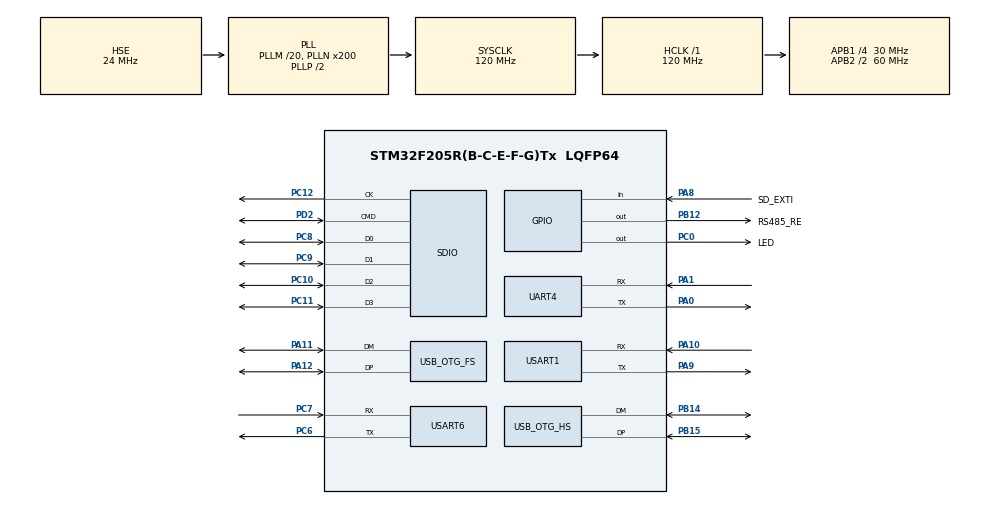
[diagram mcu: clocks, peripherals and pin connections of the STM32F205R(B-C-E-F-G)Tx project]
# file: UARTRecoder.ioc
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Dma.Request0=UART4_RX
Dma.Request1=USART1_RX
Dma.Request2=USART6_RX
Dma.UART4_RX.0.Direction=DMA_PERIPH_TO_MEMORY
Dma.UART4_RX.0.FIFOMode=DMA_FIFOMODE_DISABLE
Dma.UART4_RX.0.Instance=DMA1_Stream2
Dma.UART4_RX.0.MemDataAlignment=DMA_MDATAALIGN_BYTE
Dma.UART4_RX.0.MemInc=DMA_MINC_ENABLE
Dma.UART4_RX.0.Mode=DMA_NORMAL
Dma.UART4_RX.0.PeriphDataAlignment=DMA_PDATAALIGN_BYTE
Dma.UART4_RX.0.PeriphInc=DMA_PINC_DISABLE
Dma.UART4_RX.0.Priority=DMA_PRIORITY_LOW
Dma.USART1_RX.1.Direction=DMA_PERIPH_TO_MEMORY
Dma.USART1_RX.1.FIFOMode=DMA_FIFOMODE_DISABLE
Dma.USART1_RX.1.Instance=DMA2_Stream2
Dma.USART1_RX.1.MemDataAlignment=DMA_MDATAALIGN_BYTE
Dma.USART1_RX.1.MemInc=DMA_MINC_ENABLE
Dma.USART1_RX.1.Mode=DMA_NORMAL
Dma.USART1_RX.1.PeriphDataAlignment=DMA_PDATAALIGN_BYTE
Dma.USART1_RX.1.PeriphInc=DMA_PINC_DISABLE
Dma.USART1_RX.1.Priority=DMA_PRIORITY_LOW
Dma.USART6_RX.2.Direction=DMA_PERIPH_TO_MEMORY
Dma.USART6_RX.2.FIFOMode=DMA_FIFOMODE_DISABLE
Dma.USART6_RX.2.Instance=DMA2_Stream1
Dma.USART6_RX.2.MemDataAlignment=DMA_MDATAALIGN_BYTE
Dma.USART6_RX.2.MemInc=DMA_MINC_ENABLE
Dma.USART6_RX.2.Mode=DMA_NORMAL
Dma.USART6_RX.2.PeriphDataAlignment=DMA_PDATAALIGN_BYTE
Dma.USART6_RX.2.PeriphInc=DMA_PINC_DISABLE
Dma.USART6_RX.2.Priority=DMA_PRIORITY_LOW
Mcu.Family=STM32F2
Mcu.Name=STM32F205R(B-C-E-F-G)Tx
Mcu.Package=LQFP64
NVIC.DMA1_Stream2_IRQn=true\:0\:0\:false\:false\:true\:false
NVIC.DMA2_Stream1_IRQn=true\:0\:0\:false\:false\:true\:false
NVIC.DMA2_Stream2_IRQn=true\:0\:0\:false\:false\:true\:false
NVIC.OTG_FS_IRQn=true\:0\:0\:false\:false\:true\:false
NVIC.OTG_HS_IRQn=true\:0\:0\:false\:false\:true\:false
NVIC.PriorityGroup=NVIC_PRIORITYGROUP_4
NVIC.UART4_IRQn=true\:0\:0\:false\:false\:true\:true
NVIC.USART1_IRQn=true\:0\:0\:false\:false\:true\:true
NVIC.USART6_IRQn=true\:0\:0\:false\:false\:true\:true
PA0-WKUP.Mode=Asynchronous
PA0-WKUP.Signal=UART4_TX
PA1.Mode=Asynchronous
PA1.Signal=UART4_RX
PA10.Mode=Asynchronous
PA10.Signal=USART1_RX
PA11.Mode=Device_Only
PA11.Signal=USB_OTG_FS_DM
PA12.Mode=Device_Only
PA12.Signal=USB_OTG_FS_DP
PA13.Mode=Serial_Wire
PA13.Signal=SYS_JTMS-SWDIO
PA14.Mode=Serial_Wire
PA14.Signal=SYS_JTCK-SWCLK
PA8.GPIO_Label=SD_EXTI
PA8.GPIO_PuPd=GPIO_PULLUP
PA8.Signal=GPIO_Input
PA9.Mode=Asynchronous
PA9.Signal=USART1_TX
PB12.GPIO_Label=RS485_RE
PB12.Signal=GPIO_Output
PB14.Mode=Host_FS
PB14.Signal=USB_OTG_HS_DM
PB15.Mode=Host_FS
PB15.Signal=USB_OTG_HS_DP
PC0.GPIO_Label=LED
PC0.GPIO_PuPd=GPIO_PULLUP
PC0.Signal=GPIO_Output
PC10.GPIO_PuPd=GPIO_PULLUP
PC10.Mode=SD_4_bits_Wide_bus
PC10.Signal=SDIO_D2
PC11.GPIO_PuPd=GPIO_PULLUP
PC11.Mode=SD_4_bits_Wide_bus
PC11.Signal=SDIO_D3
PC12.GPIO_PuPd=GPIO_PULLUP
PC12.Mode=SD_4_bits_Wide_bus
PC12.Signal=SDIO_CK
PC14-OSC32_IN.Mode=LSE-External-Oscillator
PC14-OSC32_IN.Signal=RCC_OSC32_IN
PC15-OSC32_OUT.Mode=LSE-External-Oscillator
PC15-OSC32_OUT.Signal=RCC_OSC32_OUT
PC6.Mode=Asynchronous
PC6.Signal=USART6_TX
PC7.Mode=Asynchronous
PC7.Signal=USART6_RX
PC8.GPIO_PuPd=GPIO_PULLUP
PC8.Mode=SD_4_bits_Wide_bus
PC8.Signal=SDIO_D0
PC9.GPIO_PuPd=GPIO_PULLUP
PC9.Mode=SD_4_bits_Wide_bus
PC9.Signal=SDIO_D1
PD2.GPIO_PuPd=GPIO_PULLUP
PD2.Mode=SD_4_bits_Wide_bus
PD2.Signal=SDIO_CMD
PH0-OSC_IN.Mode=HSE-External-Oscillator
PH0-OSC_IN.Signal=RCC_OSC_IN
PH1-OSC_OUT.Mode=HSE-External-Oscillator
PH1-OSC_OUT.Signal=RCC_OSC_OUT
ProjectManager.HeapSize=0x1000
ProjectManager.StackSize=0x400
ProjectManager.TargetToolchain=MDK-ARM V5
RCC.48MHZClocksFreq_Value=48000000
RCC.AHBFreq_Value=120000000
RCC.APB1CLKDivider=RCC_HCLK_DIV4
RCC.APB1Freq_Value=30000000
RCC.APB1TimFreq_Value=60000000
RCC.APB2CLKDivider=RCC_HCLK_DIV2
RCC.APB2Freq_Value=60000000
RCC.APB2TimFreq_Value=120000000
RCC.CortexFreq_Value=120000000
RCC.HCLKFreq_Value=120000000
RCC.HSE_VALUE=24000000
RCC.HSI_VALUE=16000000
RCC.PLLM=20
RCC.PLLN=200
RCC.PLLQ=5
RCC.PLLSourceVirtual=RCC_PLLSOURCE_HSE
RCC.RCC_RTC_Clock_Source=RCC_RTCCLKSOURCE_LSE
RCC.RCC_RTC_Clock_SourceVirtual=RCC_RTCCLKSOURCE_LSE
RCC.SYSCLKFreq_VALUE=120000000
RCC.SYSCLKSource=RCC_SYSCLKSOURCE_PLLCLK
RCC.VCOOutputFreq_Value=240000000
RTC.Format=RTC_FORMAT_BIN
SDIO.ClockDiv=3
UART4.VirtualMode=Asynchronous
USART1.VirtualMode=VM_ASYNC
USART6.VirtualMode=VM_ASYNC
USB_DEVICE.CLASS_NAME_FS=CDC
USB_DEVICE.VirtualMode-CDC_FS=Cdc
USB_DEVICE.VirtualModeFS=Cdc_FS
USB_HOST.USBH_DEBUG_LEVEL-MSC_HS=0
USB_HOST.USBH_HandleTypeDef-MSC_HS=hUsbHostHS
USB_HOST.VirtualModeHS=Msc
USB_OTG_FS.VirtualMode=Device_Only
USB_OTG_HS.VirtualMode-Host_FS=Host_FS
VP_FATFS_VS_SDIO.Mode=SDIO
VP_FATFS_VS_USB.Mode=USB
VP_RTC_VS_RTC_Activate.Mode=RTC_Enabled
VP_RTC_VS_RTC_Calendar.Mode=RTC_Calendar
VP_USB_DEVICE_VS_USB_DEVICE_CDC_FS.Mode=CDC_FS
VP_USB_HOST_VS_USB_HOST_MSC_HS.Mode=MSC_HS
board=custom

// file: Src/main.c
/**
  ******************************************************************************
  * @file           : main.c
  * @brief          : Main program body
  ******************************************************************************
  * This notice applies to any and all portions of this file
  * that are not between comment pairs USER CODE BEGIN and
  * USER CODE END. Other portions of this file, whether
  * inserted by the user or by software development tools
  * are owned by their respective copyright owners.
  *
  * Copyright (c) 2020 STMicroelectronics International N.V.
  * All rights reserved.
  *
  * Redistribution and use in source and binary forms, with or without
  * modification, are permitted, provided that the following conditions are met:
  *
  * 1. Redistribution of source code must retain the above copyright notice,
  *    this list of conditions and the following disclaimer.
  * 2. Redistributions in binary form must reproduce the above copyright notice,
  *    this list of conditions and the following disclaimer in the documentation
  *    and/or other materials provided with the distribution.
  * 3. Neither the name of STMicroelectronics nor the names of other
  *    contributors to this software may be used to endorse or promote products
  *    derived from this software without specific written permission.
  * 4. This software, including modifications and/or derivative works of this
  *    software, must execute solely and exclusively on microcontroller or
  *    microprocessor devices manufactured by or for STMicroelectronics.
  * 5. Redistribution and use of this software other than as permitted under
  *    this license is void and will automatically terminate your rights under
  *    this license.
  *
  * THIS SOFTWARE IS PROVIDED BY STMICROELECTRONICS AND CONTRIBUTORS "AS IS"
  * AND ANY EXPRESS, IMPLIED OR STATUTORY WARRANTIES, INCLUDING, BUT NOT
  * LIMITED TO, THE IMPLIED WARRANTIES OF MERCHANTABILITY, FITNESS FOR A
  * PARTICULAR PURPOSE AND NON-INFRINGEMENT OF THIRD PARTY INTELLECTUAL PROPERTY
  * RIGHTS ARE DISCLAIMED TO THE FULLEST EXTENT PERMITTED BY LAW. IN NO EVENT
  * SHALL STMICROELECTRONICS OR CONTRIBUTORS BE LIABLE FOR ANY DIRECT, INDIRECT,
  * INCIDENTAL, SPECIAL, EXEMPLARY, OR CONSEQUENTIAL DAMAGES (INCLUDING, BUT NOT
  * LIMITED TO, PROCUREMENT OF SUBSTITUTE GOODS OR SERVICES; LOSS OF USE, DATA,
  * OR PROFITS; OR BUSINESS INTERRUPTION) HOWEVER CAUSED AND ON ANY THEORY OF
  * LIABILITY, WHETHER IN CONTRACT, STRICT LIABILITY, OR TORT (INCLUDING
  * NEGLIGENCE OR OTHERWISE) ARISING IN ANY WAY OUT OF THE USE OF THIS SOFTWARE,
  * EVEN IF ADVISED OF THE POSSIBILITY OF SUCH DAMAGE.
  *
  ******************************************************************************
  */
#include "main.h"
#include "stm32f2xx_hal.h"
#include "dma.h"
#include "fatfs.h"
#include "rtc.h"
#include "sdio.h"
#include "usart.h"
#include "usb_device.h"
#include "usb_host.h"
#include "gpio.h"
#include "string.h"
/* USER CODE BEGIN Includes */

#include "uart_rx_dma.h"
#include "uhead.h"
#include "usbd_cdc_if.h"

/* USER CODE END Includes */

/* USER CODE BEGIN PV */
/* Private variables ---------------------------------------------------------*/

DMA_rxStr dmarx1Str = {0};
DMA_rxStr dmarx4Str = {0};
DMA_rxStr dmarx6Str = {0};
char timeArray[] = "2020/05/14 20:17:56	";
char filename[] = "1:/20200514.txt";
RTC_DateTypeDef sDate = {0};
RTC_TimeTypeDef sTime = {0};

extern	FATFS SDFatFS;    /* File system object for SD logical drive */
extern	FIL SDFile;       /* File object for SD */

extern	FATFS USBHFatFS;    /* File system object for USBH logical drive */
extern	FIL USBHFile;       /* File object for USBH */
char flag_sd = 0;			// SD卡插入标志
char flag_usb = 0;			// USB插入标志

UINT bw = 0;			// 写入的指针/* Pointer to number of bytes written */
/* USER CODE END PV */

void SystemClock_Config(void);
void MX_USB_HOST_Process(void);

/* USER CODE BEGIN PFP */
/* Private function prototypes -----------------------------------------------*/

/* USER CODE END PFP */

/* USER CODE BEGIN 0 */

void MadeFileName(char* file,RTC_DateTypeDef* sDate)
{
	file[5] = (sDate->Year/10) + '0';
	file[6] = (sDate->Year%10) + '0';
	file[7] = (sDate->Month/10) + '0';
	file[8] = (sDate->Month%10) + '0';
	file[9] = (sDate->Date/10) + '0';
	file[10] = (sDate->Date%10) + '0';

}
// USB连接函数
void USB_Connect(void)
{
	f_mount (&USBHFatFS,USBHPath,1);
	filename[0] = USBHPath[0];
	MadeFileName(filename,&sDate);
	debug("filename:%s\r\nUSBHPath:%s\r\n",filename,USBHPath);
	f_open (&USBHFile,filename,FA_OPEN_ALWAYS|FA_WRITE);
	f_lseek(&USBHFile,f_size(&USBHFile));                           //移动到文件尾部
	flag_usb = 1;
}

void USB_Disconnect(void)
{
	flag_usb = 0;
	f_close(&USBHFile);
}

// 将时间转换成字符串
void PutTime2Array(RTC_DateTypeDef* sDate,RTC_TimeTypeDef* sTime,char* timearray)
{
	timearray[2] = (sDate->Year/10) + '0';
	timearray[3] = (sDate->Year%10) + '0';
	timearray[5] = (sDate->Month/10) + '0';
	timearray[6] = (sDate->Month%10) + '0';
	timearray[8] = (sDate->Date/10) + '0';
	timearray[9] = (sDate->Date%10) + '0';
	timearray[11] = (sTime->Hours/10) + '0';
	timearray[12] = (sTime->Hours%10) + '0';
	timearray[14] = (sTime->Minutes/10) + '0';
	timearray[15] = (sTime->Minutes%10) + '0';
	timearray[17] = (sTime->Seconds/10) + '0';
	timearray[18] = (sTime->Seconds%10) + '0';

}
/* USER CODE END 0 */

int main(void)
{

  /* MCU Configuration----------------------------------------------------------*/

  /* Reset of all peripherals, Initializes the Flash interface and the Systick. */
  HAL_Init();

  /* Configure the system clock */
  SystemClock_Config();

  /* Initialize all configured peripherals */
  MX_GPIO_Init();
  MX_DMA_Init();
  MX_USART1_UART_Init();
  MX_UART4_Init();
  MX_USART6_UART_Init();
  MX_SDIO_SD_Init();
  MX_FATFS_Init();
  MX_USB_DEVICE_Init();
  MX_RTC_Init();
  MX_USB_HOST_Init();
  /* USER CODE BEGIN 2 */
  debug("start:\r\n");
	HAL_RTC_GetTime(&hrtc,&sTime, RTC_FORMAT_BIN);
	HAL_RTC_GetDate(&hrtc, &sDate, RTC_FORMAT_BIN);
	PutTime2Array(&sDate,&sTime,timeArray);
  UartRX_Start(&huart1, &hdma_usart1_rx,&dmarx1Str);	//配置并启动DMA
  UartRX_Start(&huart4, &hdma_uart4_rx,&dmarx4Str);	//配置并启动DMA
  UartRX_Start(&huart6, &hdma_usart6_rx,&dmarx6Str);	//配置并启动DMA
  /* USER CODE END 2 */

  /* Infinite loop */
  /* USER CODE BEGIN WHILE */

	while (1)
	{
		if(GPIO_READ(SD_EXTI))
		{
			if(flag_sd)
			{

				flag_sd = 0;
				debug("SD卡拔出\r\n");
				f_close(&SDFile);
			}
		}else
		{
			if(flag_sd == 0)
			{
				flag_sd = 1;
				debug("SD卡插入\r\n");
			AA :
				HAL_SD_Init(&hsd);// 硬盘初始化函数SD卡初始化函数
				HAL_SD_CardCIDTypeDef pCID = {0};
				HAL_SD_CardStateTypeDef erro = HAL_SD_GetCardState(&hsd) ;
				if(erro == HAL_SD_CARD_TRANSFER)
				{
					HAL_SD_GetCardCID(&hsd,&pCID);
					debug("SD 初始化成功：");
					debug("BlockSize = %d\r\n",hsd.SdCard.BlockSize);
					f_mount (&SDFatFS,SDPath,1);
					filename[0] = SDPath[0];
					MadeFileName(filename,&sDate);
					f_open (&SDFile,filename,FA_OPEN_ALWAYS|FA_WRITE);
					f_lseek(&SDFile,f_size(&SDFile));                           //移动到文件尾部
					flag_sd = 1;
				}else
				{
					debug("SD卡初始化失败,erro = %d\r\n",erro);
					goto AA;
				}

			}
		}
	  if(dmarx1Str.num)
	  {

		dmarx1Str.buf[dmarx1Str.num] = 0;
		debug("dmarx1Str.num = %d,time : %s RX: %s\r\n",dmarx1Str.num,timeArray,dmarx1Str.buf);
		if(flag_sd)
		{
			f_printf(&SDFile,"%s",timeArray);
			f_printf(&SDFile,": %s\r\n",dmarx1Str.buf);
			f_sync (&SDFile);
		}
		if(flag_usb)
		{
			f_printf(&USBHFile,"%s",timeArray);
			f_printf(&USBHFile,": %s\r\n",dmarx1Str.buf);
			f_sync (&USBHFile);
		}

		dmarx1Str.num = 0;
	  }

	  if(dmarx4Str.num)
	  {

		dmarx4Str.buf[dmarx4Str.num] = 0;
		debug("dmarx4Str.num = %d,time : %s RX: %s\r\n",dmarx4Str.num,timeArray,dmarx4Str.buf);

		if(flag_sd)
		{
			f_printf(&SDFile,"%s",timeArray);
			f_printf(&SDFile,": %s\r\n",dmarx4Str.buf);
			f_sync (&SDFile);
		}
		if(flag_usb)
		{
			f_printf(&USBHFile,"%s",timeArray);
			f_printf(&USBHFile,": %s\r\n",dmarx4Str.buf);
			f_sync (&USBHFile);
		}

		dmarx4Str.num = 0;
	  }
	  if(dmarx6Str.num)
	  {

		dmarx6Str.buf[dmarx6Str.num] = 0;
		debug("dmarx6Str.num = %d,time : %s RX: %s\r\n",dmarx6Str.num,timeArray,dmarx6Str.buf);

		if(flag_sd)
		{
			f_printf(&SDFile,"%s",timeArray);
			f_printf(&SDFile,": %s\r\n",dmarx6Str.buf);
			f_sync (&SDFile);
		}
		if(flag_usb)
		{
			f_printf(&USBHFile,"%s",timeArray);
			f_printf(&USBHFile,": %s\r\n",dmarx6Str.buf);
			f_sync (&USBHFile);
		}

		dmarx6Str.num = 0;
	  }
		HAL_RTC_GetTime(&hrtc,&sTime, RTC_FORMAT_BIN);
		HAL_RTC_GetDate(&hrtc, &sDate, RTC_FORMAT_BIN);
		PutTime2Array(&sDate,&sTime,timeArray);

  /* USER CODE END WHILE */
    MX_USB_HOST_Process();

	}

}

void SystemClock_Config(void)
{

  RCC_OscInitTypeDef RCC_OscInitStruct;
  RCC_ClkInitTypeDef RCC_ClkInitStruct;
  RCC_PeriphCLKInitTypeDef PeriphClkInitStruct;

    /**Initializes the CPU, AHB and APB busses clocks
    */
  RCC_OscInitStruct.OscillatorType = RCC_OSCILLATORTYPE_HSE|RCC_OSCILLATORTYPE_LSE;
  RCC_OscInitStruct.HSEState = RCC_HSE_ON;
  RCC_OscInitStruct.LSEState = RCC_LSE_ON;
  RCC_OscInitStruct.PLL.PLLState = RCC_PLL_ON;
  RCC_OscInitStruct.PLL.PLLSource = RCC_PLLSOURCE_HSE;
  RCC_OscInitStruct.PLL.PLLM = 20;
  RCC_OscInitStruct.PLL.PLLN = 200;
  RCC_OscInitStruct.PLL.PLLP = RCC_PLLP_DIV2;
  RCC_OscInitStruct.PLL.PLLQ = 5;
  if (HAL_RCC_OscConfig(&RCC_OscInitStruct) != HAL_OK)
  {
    _Error_Handler(__FILE__, __LINE__);
  }

    /**Initializes the CPU, AHB and APB busses clocks
    */
  RCC_ClkInitStruct.ClockType = RCC_CLOCKTYPE_HCLK|RCC_CLOCKTYPE_SYSCLK
                              |RCC_CLOCKTYPE_PCLK1|RCC_CLOCKTYPE_PCLK2;
  RCC_ClkInitStruct.SYSCLKSource = RCC_SYSCLKSOURCE_PLLCLK;
  RCC_ClkInitStruct.AHBCLKDivider = RCC_SYSCLK_DIV1;
  RCC_ClkInitStruct.APB1CLKDivider = RCC_HCLK_DIV4;
  RCC_ClkInitStruct.APB2CLKDivider = RCC_HCLK_DIV2;

  if (HAL_RCC_ClockConfig(&RCC_ClkInitStruct, FLASH_LATENCY_3) != HAL_OK)
  {
    _Error_Handler(__FILE__, __LINE__);
  }

  PeriphClkInitStruct.PeriphClockSelection = RCC_PERIPHCLK_RTC;
  PeriphClkInitStruct.RTCClockSelection = RCC_RTCCLKSOURCE_LSE;
  if (HAL_RCCEx_PeriphCLKConfig(&PeriphClkInitStruct) != HAL_OK)
  {
    _Error_Handler(__FILE__, __LINE__);
  }

    /**Configure the Systick interrupt time
    */
  HAL_SYSTICK_Config(HAL_RCC_GetHCLKFreq()/1000);

    /**Configure the Systick
    */
  HAL_SYSTICK_CLKSourceConfig(SYSTICK_CLKSOURCE_HCLK);

  /* SysTick_IRQn interrupt configuration */
  HAL_NVIC_SetPriority(SysTick_IRQn, 0, 0);
}

void _Error_Handler(char *file, int line)
{
  while(1)
  {
  }
}

/************************ (C) COPYRIGHT STMicroelectronics *****END OF FILE****/
